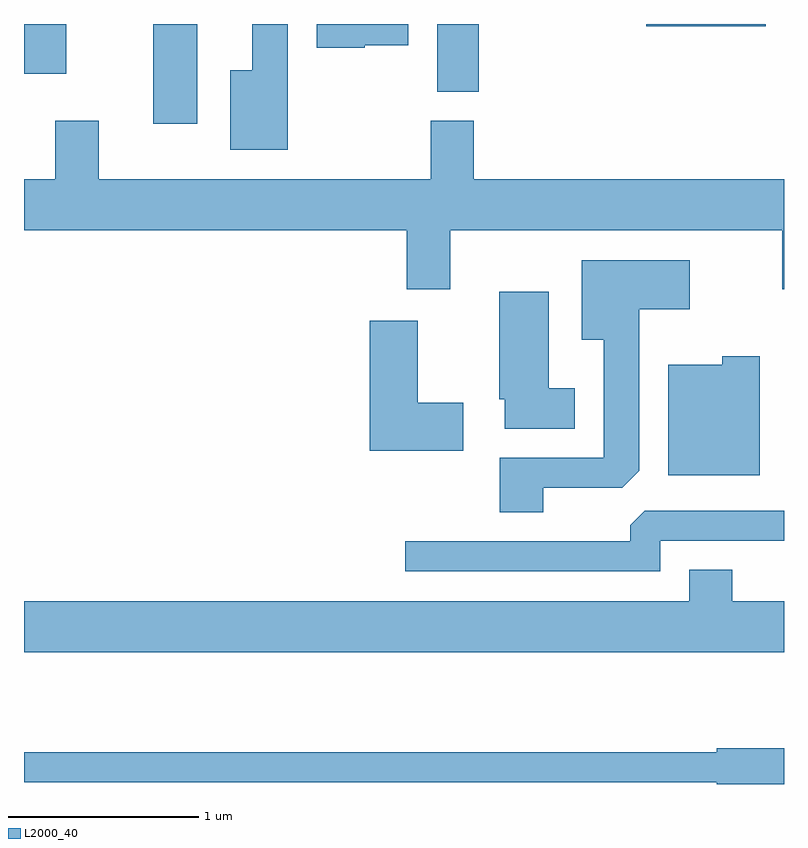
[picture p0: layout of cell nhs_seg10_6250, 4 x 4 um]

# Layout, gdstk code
import gdstk
lib = gdstk.Library(unit=1e-6, precision=1e-09)
def R(c, l, rs):  # rectangles x0, y0, x1, y1
    for r in rs: c.add(gdstk.rectangle(r[:2], r[2:], *l))
def P(c, l, *ps):  # polygons
    for p in ps: c.add(gdstk.Polygon(p, *l))
L2000_40 = (2000, 40)

nhs_seg10_6250 = lib.new_cell('nhs_seg10_6250')
R(nhs_seg10_6250, L2000_40, [(370.291,2149.996,370.524,2150.522), (371.786,2150.166,372.004,2150.522), (369.611,2150.261,369.834,2150.522), (372.886,2150.511,373.514,2150.522)])
P(nhs_seg10_6250, L2000_40, [(370.999,2150.522),(370.811,2150.522),(370.811,2150.279),(370.696,2150.279),(370.696,2149.861),(370.999,2149.861)],
  [(371.405,2150.411),(371.634,2150.411),(371.634,2150.522),(371.151,2150.522),(371.151,2150.396),(371.405,2150.396)],
  [(371.854,2149.436),(373.601,2149.436),(373.601,2149.126),(373.611,2149.126),(373.611,2149.704),(371.979,2149.704),(371.979,2150.014),(371.751,2150.014),(371.751,2149.704),(370.004,2149.704),(370.004,2150.014),(369.776,2150.014),(369.776,2149.704),(369.611,2149.704),(369.611,2149.436),(371.626,2149.436),(371.626,2149.126),(371.854,2149.126)],
  [(372.344,2148.081),(372.759,2148.081),(372.849,2148.172),(372.849,2149.021),(373.114,2149.021),(373.114,2149.279),(372.546,2149.279),(372.546,2148.861),(372.661,2148.861),(372.661,2148.239),(372.116,2148.239),(372.116,2147.951),(372.344,2147.951)],
  [(372.509,2148.604),(372.374,2148.604),(372.374,2149.114),(372.111,2149.114),(372.111,2148.546),(372.141,2148.546),(372.141,2148.391),(372.509,2148.391)],
  [(371.924,2148.529),(371.684,2148.529),(371.684,2148.959),(371.431,2148.959),(371.431,2148.276),(371.924,2148.276)],
  [(373.484,2148.774),(373.286,2148.774),(373.286,2148.729),(373.001,2148.729),(373.001,2148.146),(373.484,2148.146)],
  [(372.959,2147.801),(373.611,2147.801),(373.611,2147.959),(372.877,2147.959),(372.801,2147.884),(372.801,2147.799),(371.618,2147.799),(371.618,2147.641),(372.959,2147.641)],
  [(373.611,2147.484),(373.339,2147.484),(373.339,2147.649),(373.111,2147.649),(373.111,2147.484),(369.611,2147.484),(369.611,2147.216),(373.611,2147.216)],
  [(373.611,2146.709),(373.256,2146.709),(373.256,2146.689),(369.611,2146.689),(369.611,2146.531),(373.256,2146.531),(373.256,2146.522),(373.611,2146.522)])

lib.write_gds('nhs_seg10_6250.gds')
